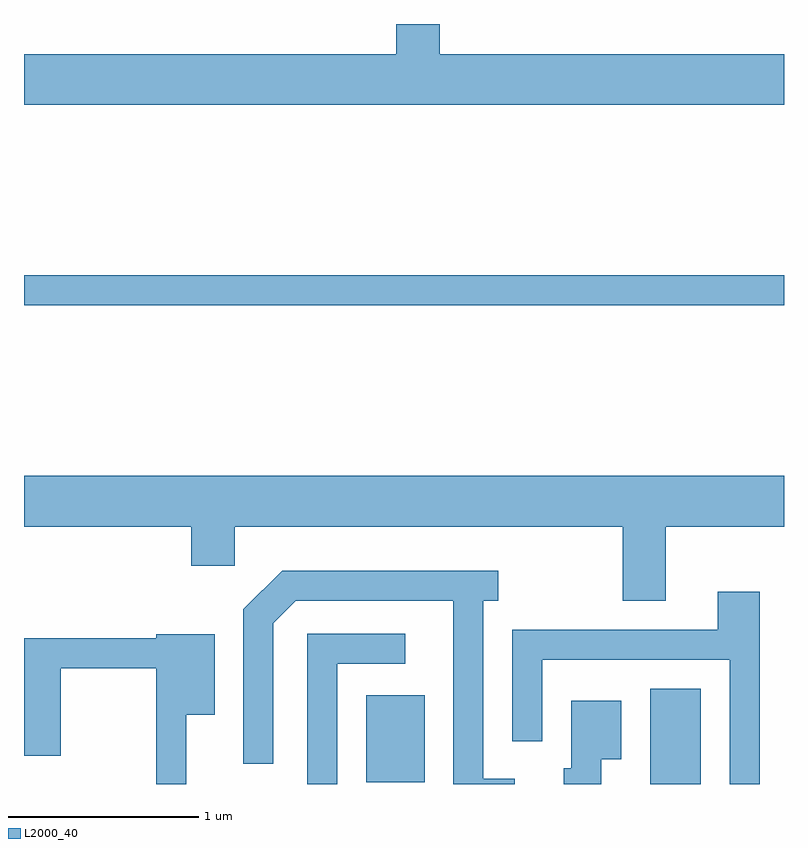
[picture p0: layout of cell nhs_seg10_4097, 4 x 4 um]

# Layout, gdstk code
import gdstk
lib = gdstk.Library(unit=1e-6, precision=1e-09)
def R(c, l, rs):  # rectangles x0, y0, x1, y1
    for r in rs: c.add(gdstk.rectangle(r[:2], r[2:], *l))
def P(c, l, *ps):  # polygons
    for p in ps: c.add(gdstk.Polygon(p, *l))
L2000_40 = (2000, 40)

nhs_seg10_4097 = lib.new_cell('nhs_seg10_4097')
R(nhs_seg10_4097, L2000_40, [(308.906,2152.522,309.174,2153.024), (307.411,2152.531,307.719,2152.989), (305.611,2155.041,309.611,2155.199), (308.341,2156.521,309.611,2156.522)])
P(nhs_seg10_4097, L2000_40, [(309.611,2156.364),(307.799,2156.364),(307.799,2156.522),(307.571,2156.522),(307.571,2156.364),(305.611,2156.364),(305.611,2156.096),(309.611,2156.096)],
  [(308.989,2153.876),(309.611,2153.876),(309.611,2154.144),(305.611,2154.144),(305.611,2153.876),(306.491,2153.876),(306.491,2153.671),(306.719,2153.671),(306.719,2153.876),(308.761,2153.876),(308.761,2153.486),(308.989,2153.486)],
  [(308.193,2152.549),(308.029,2152.549),(308.029,2153.486),(308.108,2153.486),(308.108,2153.644),(306.969,2153.644),(306.766,2153.442),(306.766,2152.628),(306.924,2152.628),(306.924,2153.369),(307.042,2153.486),(307.871,2153.486),(307.871,2152.522),(308.193,2152.522)],
  [(309.484,2153.534),(309.261,2153.534),(309.261,2153.334),(308.181,2153.334),(308.181,2152.748),(308.339,2152.748),(308.339,2153.176),(309.326,2153.176),(309.326,2152.522),(309.484,2152.522)],
  [(307.259,2153.156),(307.618,2153.156),(307.618,2153.314),(307.101,2153.314),(307.101,2152.522),(307.259,2152.522)],
  [(306.464,2152.886),(306.614,2152.886),(306.614,2153.309),(306.306,2153.309),(306.306,2153.289),(305.611,2153.289),(305.611,2152.671),(305.804,2152.671),(305.804,2153.131),(306.306,2153.131),(306.306,2152.522),(306.464,2152.522)],
  [(308.649,2152.651),(308.754,2152.651),(308.754,2152.959),(308.491,2152.959),(308.491,2152.604),(308.451,2152.604),(308.451,2152.522),(308.649,2152.522)])

lib.write_gds('nhs_seg10_4097.gds')
